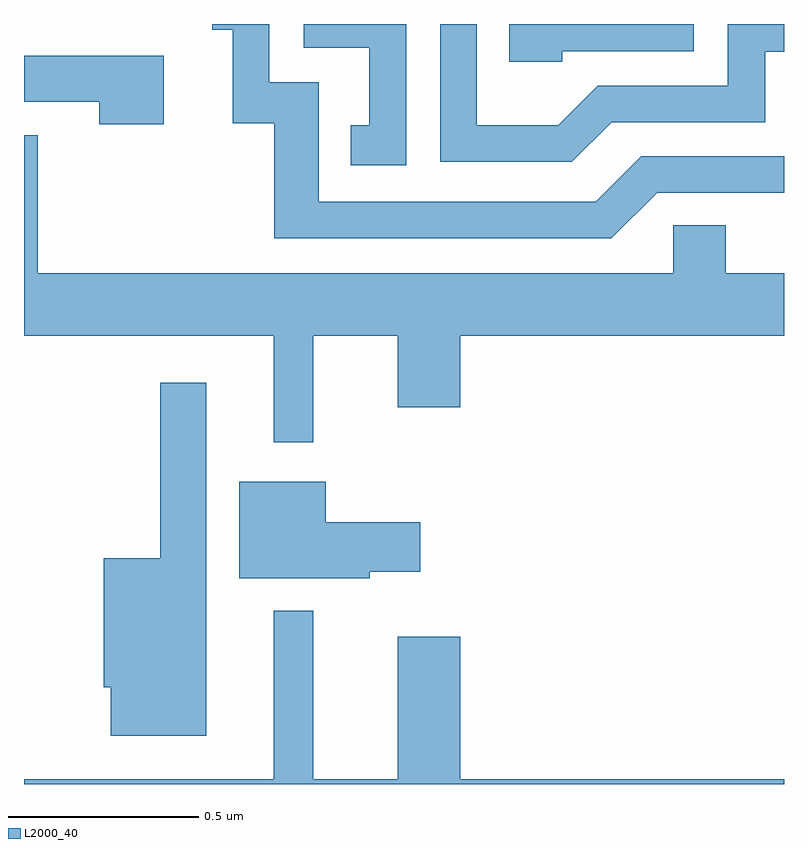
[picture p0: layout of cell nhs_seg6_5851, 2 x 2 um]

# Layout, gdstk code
import gdstk
lib = gdstk.Library(unit=1e-6, precision=1e-09)
def P(c, l, *ps):  # polygons
    for p in ps: c.add(gdstk.Polygon(p, *l))
L2000_40 = (2000, 40)

nhs_seg6_5851 = lib.new_cell('nhs_seg6_5851')
P(nhs_seg6_5851, L2000_40, [(189.006,937.5),(188.736,937.5),(188.736,937.437),(188.909,937.437),(188.909,937.233),(188.86,937.233),(188.86,937.128),(189.006,937.128)],
  [(189.417,937.428),(189.762,937.428),(189.762,937.5),(189.277,937.5),(189.277,937.401),(189.417,937.401)],
  [(189.547,937.242),(189.951,937.242),(189.951,937.427),(190,937.427),(190,937.5),(189.852,937.5),(189.852,937.338),(189.51,937.338),(189.406,937.234),(189.192,937.234),(189.192,937.5),(189.096,937.5),(189.096,937.137),(189.442,937.137)],
  [(189.666,937.056),(190,937.056),(190,937.152),(189.624,937.152),(189.504,937.032),(188.775,937.032),(188.775,937.347),(188.646,937.347),(188.646,937.5),(188.496,937.5),(188.496,937.485),(188.549,937.485),(188.549,937.239),(188.659,937.239),(188.659,936.936),(189.546,936.936)],
  [(188.368,937.417),(188,937.417),(188,937.295),(188.198,937.295),(188.198,937.236),(188.368,937.236)],
  [(188.761,936.68),(188.984,936.68),(188.984,936.492),(189.148,936.492),(189.148,936.68),(190,936.68),(190,936.844),(189.847,936.844),(189.847,936.971),(189.708,936.971),(189.708,936.844),(188.036,936.844),(188.036,937.207),(188,937.207),(188,936.68),(188.657,936.68),(188.657,936.399),(188.761,936.399)],
  [(188.479,936.556),(188.358,936.556),(188.358,936.094),(188.21,936.094),(188.21,935.754),(188.228,935.754),(188.228,935.627),(188.479,935.627)],
  [(188.91,936.059),(189.043,936.059),(189.043,936.189),(188.794,936.189),(188.794,936.295),(188.567,936.295),(188.567,936.041),(188.91,936.041)],
  [(190,935.512),(189.148,935.512),(189.148,935.887),(188.984,935.887),(188.984,935.512),(188.761,935.512),(188.761,935.956),(188.657,935.956),(188.657,935.512),(188,935.512),(188,935.5),(190,935.5)])

lib.write_gds('nhs_seg6_5851.gds')
